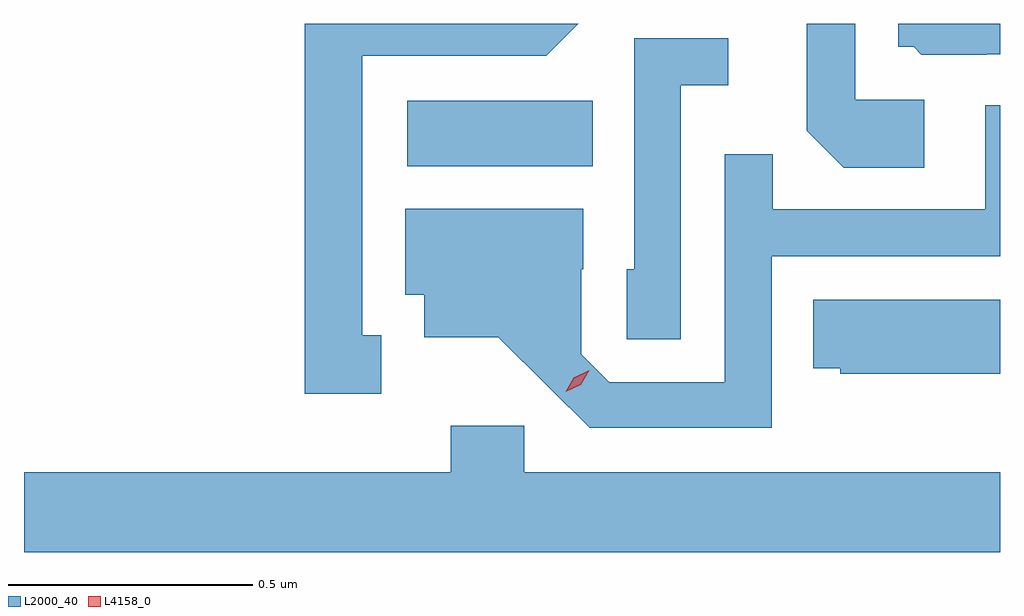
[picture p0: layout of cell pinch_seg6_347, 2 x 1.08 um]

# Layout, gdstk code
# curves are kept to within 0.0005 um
import gdstk
lib = gdstk.Library(unit=1e-6, precision=1e-09)
def R(c, l, rs):  # rectangles x0, y0, x1, y1
    for r in rs: c.add(gdstk.rectangle(r[:2], r[2:], *l))
def P(c, l, *ps):  # polygons
    for p in ps: c.add(gdstk.Polygon(p, *l))
L2000_40 = (2000, 40)
L4158_0 = (4158, 0)

pinch_seg6_347 = lib.new_cell('pinch_seg6_347')
R(pinch_seg6_347, L2000_40, [(746.988,944.132,747.368,944.266)])
P(pinch_seg6_347, L2000_40, [(746.935,943.785),(746.896,943.785),(746.896,944.358),(747.273,944.358),(747.339,944.424),(746.778,944.424),(746.778,943.665),(746.935,943.665)],
  [(748.048,944.268),(747.906,944.268),(747.906,944.424),(747.807,944.424),(747.807,944.204),(747.883,944.128),(748.048,944.128)],
  [(748.176,944.361),(748.203,944.361),(748.203,944.424),(747.995,944.424),(747.995,944.376),(748.026,944.376),(748.042,944.36),(748.176,944.36)],
  [(747.549,944.297),(747.646,944.297),(747.646,944.394),(747.453,944.394),(747.453,943.92),(747.438,943.92),(747.438,943.777),(747.549,943.777)],
  [(747.735,943.947),(748.203,943.947),(748.203,944.257),(748.173,944.257),(748.173,944.043),(747.737,944.043),(747.737,944.156),(747.639,944.156),(747.639,943.689),(747.402,943.689),(747.345,943.746),(747.345,943.92),(747.349,943.92),(747.349,944.044),(746.984,944.044),(746.984,943.868),(747.023,943.868),(747.023,943.781),(747.175,943.781),(747.362,943.596),(747.735,943.596)],
  [(748.203,943.858),(747.82,943.858),(747.82,943.718),(747.876,943.718),(747.876,943.706),(748.203,943.706)],
  [(748.203,943.504),(747.228,943.504),(747.228,943.6),(747.077,943.6),(747.077,943.504),(746.203,943.504),(746.203,943.34),(748.203,943.34)])
P(pinch_seg6_347, L4158_0, [(747.313,943.669),(747.313,943.669),(747.33,943.698),(747.361,943.713),(747.361,943.713),(747.361,943.713),(747.344,943.684),(747.313,943.669)])

lib.write_gds('pinch_seg6_347.gds')
